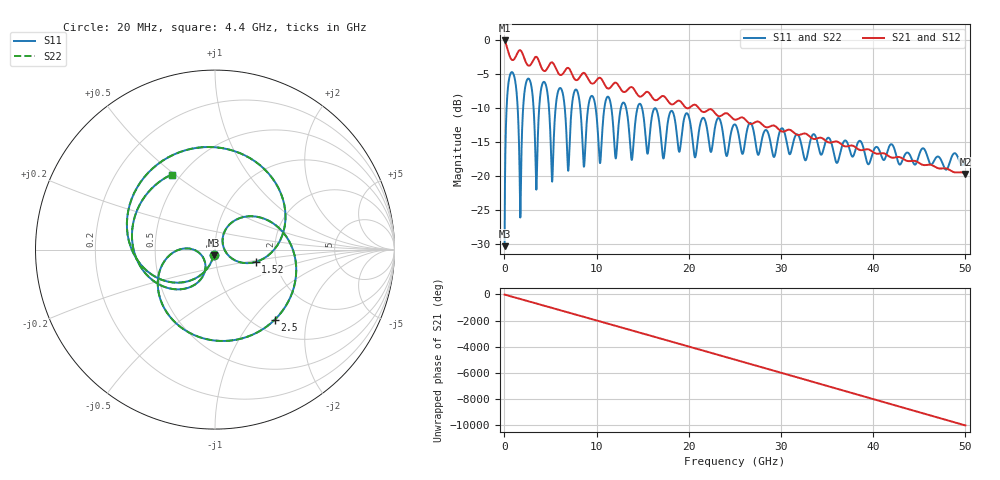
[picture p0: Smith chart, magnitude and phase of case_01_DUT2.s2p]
# HZ S RI R 50
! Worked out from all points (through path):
!   2500 points, 20 MHz to 50 GHz, reference 50 ohm
!   highest |S21| = -0.12 dB at 20 MHz (marker M1); lowest = -19.7 dB at 50 GHz (marker M2)
!   group delay of S21, straight-line fit = 556 ps
!   lowest |S11| = -30.3 dB at 20 MHz (marker M3), VSWR 1.06, Z = 49.2 - j2.94 ohm
!   |S11| at or under -10 dB: 11.6 GHz to 12.63 GHz (1.032 GHz wide, 8.52 % of centre); 13.2 GHz to 14.44 GHz (1.242 GHz wide, 8.99 % of centre); 14.92 GHz to end of sweep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
!   |S22| runs from -30.3 to -4.8 dB; largest |S21 - S12| = 0
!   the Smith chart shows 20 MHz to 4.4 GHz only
!   S11 on the Smith chart (normalised r, x): 20 MHz: 0.98, -0.06; 1.52 GHz: 1.57, -0.23; 2.5 GHz: 1.23, -1.31; 4.4 GHz: 0.45, +0.49
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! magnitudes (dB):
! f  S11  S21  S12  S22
! 20 MHz  -30.3  -0.1  -0.1  -30.3
! 320 MHz  -8.0  -1.3  -1.3  -8.0
! 600 MHz  -5.2  -2.5  -2.5  -5.2
! 1.18 GHz  -6.2  -2.6  -2.6  -6.2
! 1.52 GHz  -12.5  -1.7  -1.7  -12.5
! 1.8 GHz  -20.0  -1.6  -1.6  -20.0
! 2.5 GHz  -5.8  -3.7  -3.7  -5.8
! 3.46 GHz  -22.0  -2.5  -2.5  -22.0
! 4.4 GHz  -6.3  -4.6  -4.6  -6.3
! 5.16 GHz  -20.7  -3.3  -3.3  -20.7
! 6 GHz  -7.1  -5.1  -5.1  -7.1
! 6.9 GHz  -19.1  -4.1  -4.1  -19.1
! 7.66 GHz  -7.4  -5.8  -5.8  -7.4
! 8.36 GHz  -12.4  -5.1  -5.1  -12.4
! 16.68 GHz  -11.2  -8.7  -8.7  -11.2
! 17.24 GHz  -17.4  -8.3  -8.3  -17.4
! 18.1 GHz  -10.4  -9.5  -9.5  -10.4
! 20.68 GHz  -17.3  -9.5  -9.5  -17.3
! 25.02 GHz  -12.4  -11.7  -11.7  -12.4
! 33.34 GHz  -14.2  -14.4  -14.4  -14.2
! 41.68 GHz  -15.8  -17.1  -17.1  -15.8
! 50 GHz  -17.9  -19.7  -19.7  -17.9
